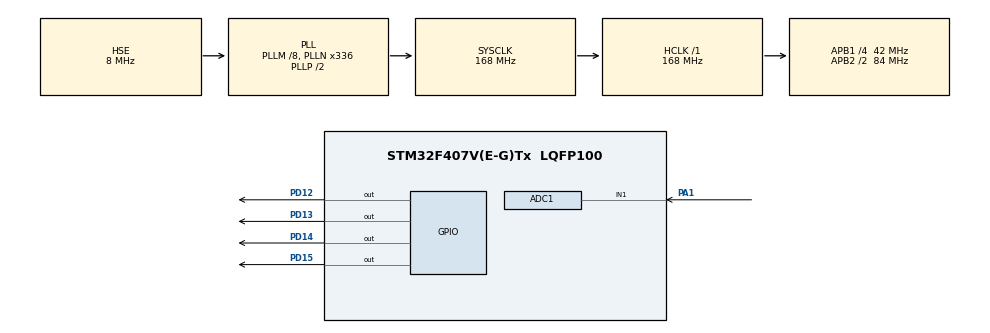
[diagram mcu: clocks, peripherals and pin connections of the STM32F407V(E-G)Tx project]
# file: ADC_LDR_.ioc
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ADC1.Channel-0\#ChannelRegularConversion=ADC_CHANNEL_1
ADC1.ContinuousConvMode=ENABLE
ADC1.NbrOfConversionFlag=1
ADC1.Rank-0\#ChannelRegularConversion=1
ADC1.Resolution=ADC_RESOLUTION_10B
ADC1.SamplingTime-0\#ChannelRegularConversion=ADC_SAMPLETIME_3CYCLES
ADC1.master=1
Mcu.Family=STM32F4
Mcu.Name=STM32F407V(E-G)Tx
Mcu.Package=LQFP100
NVIC.PriorityGroup=NVIC_PRIORITYGROUP_0
PA1.Signal=ADCx_IN1
PA13.Mode=Serial_Wire
PA13.Signal=SYS_JTMS-SWDIO
PA14.Mode=Serial_Wire
PA14.Signal=SYS_JTCK-SWCLK
PD12.Signal=GPIO_Output
PD13.Signal=GPIO_Output
PD14.Signal=GPIO_Output
PD15.Signal=GPIO_Output
PH0-OSC_IN.Mode=HSE-External-Oscillator
PH0-OSC_IN.Signal=RCC_OSC_IN
PH1-OSC_OUT.Mode=HSE-External-Oscillator
PH1-OSC_OUT.Signal=RCC_OSC_OUT
ProjectManager.HeapSize=0x200
ProjectManager.StackSize=0x400
ProjectManager.TargetToolchain=STM32CubeIDE
RCC.48MHZClocksFreq_Value=48000000
RCC.AHBFreq_Value=168000000
RCC.APB1CLKDivider=RCC_HCLK_DIV4
RCC.APB1Freq_Value=42000000
RCC.APB1TimFreq_Value=84000000
RCC.APB2CLKDivider=RCC_HCLK_DIV2
RCC.APB2Freq_Value=84000000
RCC.APB2TimFreq_Value=168000000
RCC.CortexFreq_Value=168000000
RCC.HCLKFreq_Value=168000000
RCC.HSE_VALUE=8000000
RCC.HSI_VALUE=16000000
RCC.PLLM=8
RCC.PLLN=336
RCC.PLLQ=7
RCC.PLLSourceVirtual=RCC_PLLSOURCE_HSE
RCC.SYSCLKFreq_VALUE=168000000
RCC.SYSCLKSource=RCC_SYSCLKSOURCE_PLLCLK
RCC.VCOOutputFreq_Value=336000000
SH.ADCx_IN1.0=ADC1_IN1,IN1
board=STM32F407G-DISC1

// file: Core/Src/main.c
/* USER CODE BEGIN Header */
/**
  ******************************************************************************
  * @file           : main.c
  * @brief          : Main program body
  ******************************************************************************
  * @attention
  *
  * Copyright (c) 2023 STMicroelectronics.
  * All rights reserved.
  *
  * This software is licensed under terms that can be found in the LICENSE file
  * in the root directory of this software component.
  * If no LICENSE file comes with this software, it is provided AS-IS.
  *
  ******************************************************************************
  */
/* USER CODE END Header */
#include "main.h"

ADC_HandleTypeDef hadc1;

/* USER CODE BEGIN PV */
int ort_ = 0;
static int ornek = 10;
int counter = 0;
/* USER CODE END PV */

void SystemClock_Config(void);
static void MX_GPIO_Init(void);
static void MX_ADC1_Init(void);
/* USER CODE BEGIN PFP */
float ort(int ornek)
{
	int toplam = 0;
	int adc_value;
	counter++;
	for(int i = 0; i < ornek; i++ ){
	HAL_ADC_Start(&hadc1);
	if(HAL_ADC_PollForConversion(&hadc1, 1000) == 0){
		  adc_value = HAL_ADC_GetValue(&hadc1);
		  toplam += adc_value; }
	HAL_Delay(1);
	}
	HAL_ADC_Stop(&hadc1);
	return toplam / ornek;
}
/* USER CODE END PFP */

/* USER CODE BEGIN 0 */
float ortalama = 0;
int adc_value;
/* USER CODE END 0 */

int main(void)
{

  /* MCU Configuration--------------------------------------------------------*/

  /* Reset of all peripherals, Initializes the Flash interface and the Systick. */
    HAL_Init();

  /* Configure the system clock */
  SystemClock_Config();

  /* Initialize all configured peripherals */
  MX_GPIO_Init();
  MX_ADC1_Init();

  /* Infinite loop */
  while (1)
  {
	  ort_ = ort(ornek);
	  HAL_ADC_Start(&hadc1);

	  if(HAL_ADC_PollForConversion(&hadc1, 1000) == 0)
		  	  adc_value = HAL_ADC_GetValue(&hadc1);
	  if(ort_ > 0 && ort_ < 400){
			  HAL_GPIO_WritePin(GPIOD, GPIO_PIN_12, GPIO_PIN_SET);
		  	  HAL_GPIO_WritePin(GPIOD, GPIO_PIN_13 | GPIO_PIN_14 | GPIO_PIN_15 , GPIO_PIN_RESET);
	  	  }
	  else if(ort_ > 400 && ort_ < 650){
			  HAL_GPIO_WritePin(GPIOD, GPIO_PIN_13, GPIO_PIN_SET);
		  	  HAL_GPIO_WritePin(GPIOD, GPIO_PIN_12 | GPIO_PIN_14 | GPIO_PIN_15 , GPIO_PIN_RESET);
		  }
	  else if(ort_ > 650 && ort_ < 900){
			  HAL_GPIO_WritePin(GPIOD, GPIO_PIN_14, GPIO_PIN_SET);
			  HAL_GPIO_WritePin(GPIOD, GPIO_PIN_12 | GPIO_PIN_13 | GPIO_PIN_15 , GPIO_PIN_RESET);
		  }
	  else if(ort_ > 900 && ort_ <= 1023){
		  			  HAL_GPIO_WritePin(GPIOD, GPIO_PIN_15, GPIO_PIN_SET);
		  			  HAL_GPIO_WritePin(GPIOD, GPIO_PIN_12 | GPIO_PIN_13 | GPIO_PIN_14 , GPIO_PIN_RESET);
		  }
	  else
		  ;
	  HAL_ADC_Stop(&hadc1);
  }
}

void SystemClock_Config(void)
{
  RCC_OscInitTypeDef RCC_OscInitStruct = {0};
  RCC_ClkInitTypeDef RCC_ClkInitStruct = {0};

  /** Configure the main internal regulator output voltage
  */
  __HAL_RCC_PWR_CLK_ENABLE();
  __HAL_PWR_VOLTAGESCALING_CONFIG(PWR_REGULATOR_VOLTAGE_SCALE1);

  /** Initializes the RCC Oscillators according to the specified parameters
  * in the RCC_OscInitTypeDef structure.
  */
  RCC_OscInitStruct.OscillatorType = RCC_OSCILLATORTYPE_HSE;
  RCC_OscInitStruct.HSEState = RCC_HSE_ON;
  RCC_OscInitStruct.PLL.PLLState = RCC_PLL_ON;
  RCC_OscInitStruct.PLL.PLLSource = RCC_PLLSOURCE_HSE;
  RCC_OscInitStruct.PLL.PLLM = 8;
  RCC_OscInitStruct.PLL.PLLN = 336;
  RCC_OscInitStruct.PLL.PLLP = RCC_PLLP_DIV2;
  RCC_OscInitStruct.PLL.PLLQ = 7;
  if (HAL_RCC_OscConfig(&RCC_OscInitStruct) != HAL_OK)
  {
    Error_Handler();
  }

  /** Initializes the CPU, AHB and APB buses clocks
  */
  RCC_ClkInitStruct.ClockType = RCC_CLOCKTYPE_HCLK|RCC_CLOCKTYPE_SYSCLK
                              |RCC_CLOCKTYPE_PCLK1|RCC_CLOCKTYPE_PCLK2;
  RCC_ClkInitStruct.SYSCLKSource = RCC_SYSCLKSOURCE_PLLCLK;
  RCC_ClkInitStruct.AHBCLKDivider = RCC_SYSCLK_DIV1;
  RCC_ClkInitStruct.APB1CLKDivider = RCC_HCLK_DIV4;
  RCC_ClkInitStruct.APB2CLKDivider = RCC_HCLK_DIV2;

  if (HAL_RCC_ClockConfig(&RCC_ClkInitStruct, FLASH_LATENCY_5) != HAL_OK)
  {
    Error_Handler();
  }
}

static void MX_ADC1_Init(void)
{

  ADC_ChannelConfTypeDef sConfig = {0};

  /** Configure the global features of the ADC (Clock, Resolution, Data Alignment and number of conversion)
  */
  hadc1.Instance = ADC1;
  hadc1.Init.ClockPrescaler = ADC_CLOCK_SYNC_PCLK_DIV4;
  hadc1.Init.Resolution = ADC_RESOLUTION_10B;
  hadc1.Init.ScanConvMode = DISABLE;
  hadc1.Init.ContinuousConvMode = ENABLE;
  hadc1.Init.DiscontinuousConvMode = DISABLE;
  hadc1.Init.ExternalTrigConvEdge = ADC_EXTERNALTRIGCONVEDGE_NONE;
  hadc1.Init.ExternalTrigConv = ADC_SOFTWARE_START;
  hadc1.Init.DataAlign = ADC_DATAALIGN_RIGHT;
  hadc1.Init.NbrOfConversion = 1;
  hadc1.Init.DMAContinuousRequests = DISABLE;
  hadc1.Init.EOCSelection = ADC_EOC_SINGLE_CONV;
  if (HAL_ADC_Init(&hadc1) != HAL_OK)
  {
    Error_Handler();
  }

  /** Configure for the selected ADC regular channel its corresponding rank in the sequencer and its sample time.
  */
  sConfig.Channel = ADC_CHANNEL_1;
  sConfig.Rank = 1;
  sConfig.SamplingTime = ADC_SAMPLETIME_3CYCLES;
  if (HAL_ADC_ConfigChannel(&hadc1, &sConfig) != HAL_OK)
  {
    Error_Handler();
  }

}

static void MX_GPIO_Init(void)
{
  GPIO_InitTypeDef GPIO_InitStruct = {0};

  /* GPIO Ports Clock Enable */
  __HAL_RCC_GPIOH_CLK_ENABLE();
  __HAL_RCC_GPIOA_CLK_ENABLE();
  __HAL_RCC_GPIOD_CLK_ENABLE();

  /*Configure GPIO pin Output Level */
  HAL_GPIO_WritePin(GPIOD, GPIO_PIN_12|GPIO_PIN_13|GPIO_PIN_14|GPIO_PIN_15, GPIO_PIN_RESET);

  /*Configure GPIO pins : PD12 PD13 PD14 PD15 */
  GPIO_InitStruct.Pin = GPIO_PIN_12|GPIO_PIN_13|GPIO_PIN_14|GPIO_PIN_15;
  GPIO_InitStruct.Mode = GPIO_MODE_OUTPUT_PP;
  GPIO_InitStruct.Pull = GPIO_NOPULL;
  GPIO_InitStruct.Speed = GPIO_SPEED_FREQ_LOW;
  HAL_GPIO_Init(GPIOD, &GPIO_InitStruct);

}

void Error_Handler(void)
{
  __disable_irq();
  while (1)
  {
  }
}
